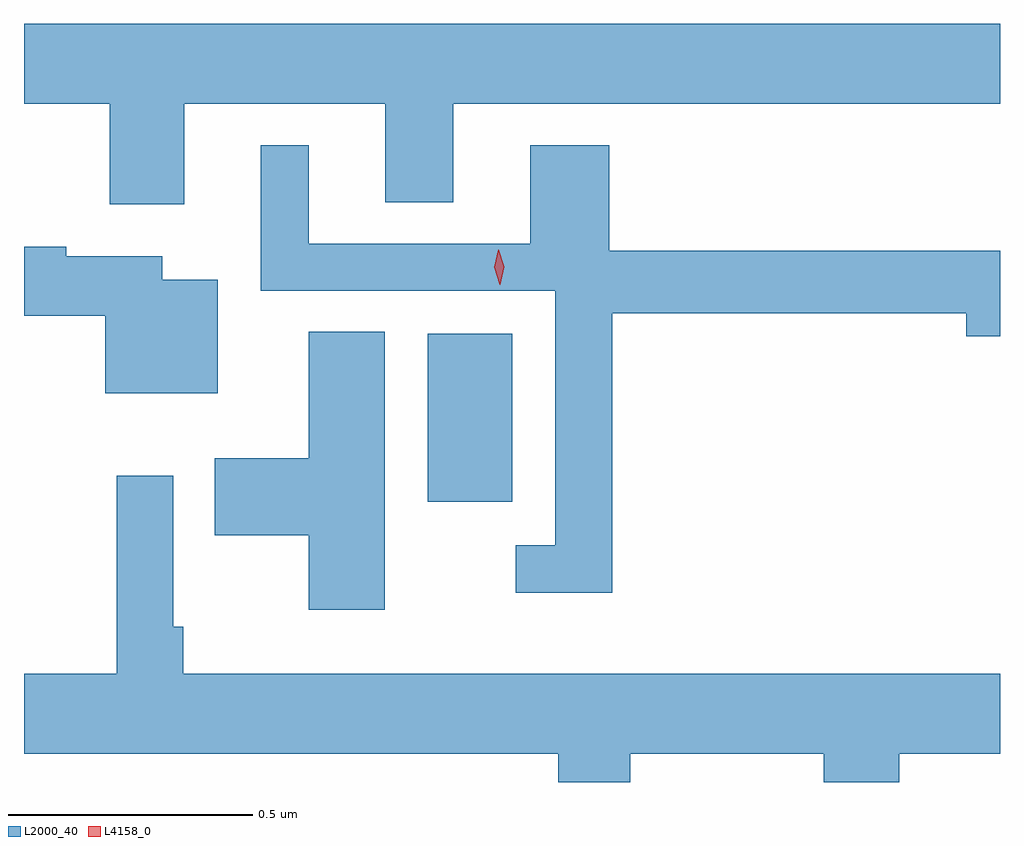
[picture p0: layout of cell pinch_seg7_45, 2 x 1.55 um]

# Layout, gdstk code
import gdstk
lib = gdstk.Library(unit=1e-6, precision=1e-09)
def R(c, l, rs):  # rectangles x0, y0, x1, y1
    for r in rs: c.add(gdstk.rectangle(r[:2], r[2:], *l))
def P(c, l, *ps):  # polygons
    for p in ps: c.add(gdstk.Polygon(p, *l))
L2000_40 = (2000, 40)
L4158_0 = (4158, 0)

pinch_seg7_45 = lib.new_cell('pinch_seg7_45')
R(pinch_seg7_45, L2000_40, [(1045.58,1079.72,1045.753,1080.064)])
P(pinch_seg7_45, L2000_40, [(1045.081,1080.536),(1045.493,1080.536),(1045.493,1080.334),(1045.633,1080.334),(1045.633,1080.536),(1046.753,1080.536),(1046.753,1080.7),(1044.753,1080.7),(1044.753,1080.536),(1044.929,1080.536),(1044.929,1080.33),(1045.081,1080.33)],
  [(1045.958,1080.106),(1046.684,1080.106),(1046.684,1080.059),(1046.753,1080.059),(1046.753,1080.235),(1045.952,1080.235),(1045.952,1080.451),(1045.79,1080.451),(1045.79,1080.249),(1045.336,1080.249),(1045.336,1080.451),(1045.238,1080.451),(1045.238,1080.153),(1045.842,1080.153),(1045.842,1079.631),(1045.761,1079.631),(1045.761,1079.534),(1045.958,1079.534)],
  [(1045.15,1080.175),(1045.036,1080.175),(1045.036,1080.223),(1044.84,1080.223),(1044.84,1080.243),(1044.753,1080.243),(1044.753,1080.101),(1044.92,1080.101),(1044.92,1079.942),(1045.15,1079.942)],
  [(1045.492,1080.068),(1045.337,1080.068),(1045.337,1079.809),(1045.144,1079.809),(1045.144,1079.651),(1045.337,1079.651),(1045.337,1079.499),(1045.492,1079.499)],
  [(1045.995,1079.204),(1046.392,1079.204),(1046.392,1079.145),(1046.547,1079.145),(1046.547,1079.204),(1046.753,1079.204),(1046.753,1079.368),(1045.079,1079.368),(1045.079,1079.464),(1045.059,1079.464),(1045.059,1079.773),(1044.943,1079.773),(1044.943,1079.368),(1044.753,1079.368),(1044.753,1079.204),(1045.848,1079.204),(1045.848,1079.145),(1045.995,1079.145)])
P(pinch_seg7_45, L4158_0, [(1045.728,1080.165),(1045.728,1080.165),(1045.717,1080.201),(1045.725,1080.237),(1045.726,1080.237),(1045.726,1080.237),(1045.737,1080.202),(1045.729,1080.165)])

lib.write_gds('pinch_seg7_45.gds')
